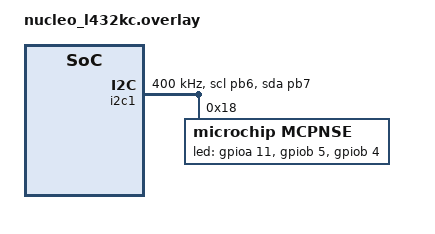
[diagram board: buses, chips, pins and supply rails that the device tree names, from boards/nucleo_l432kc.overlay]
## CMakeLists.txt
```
# SPDX-License-Identifier: Apache-2.0

cmake_minimum_required(VERSION 3.13.1)
find_package(Zephyr REQUIRED HINTS $ENV{ZEPHYR_BASE})
project(mcpnse)

FILE(GLOB app_sources src/*.c)
target_sources(app PRIVATE ${app_sources})
```

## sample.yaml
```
sample:
  name: MCPNSE Temperature Sensor
tests:
  sample.sensor.mcpnse:
    harness: sensor
    tags: sensors
    depends_on: i2c
    filter: dt_compat_enabled("microchip,mcpnse")
```

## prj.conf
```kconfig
CONFIG_STDOUT_CONSOLE=y
CONFIG_I2C=y
CONFIG_GPIO=y
CONFIG_SENSOR=y
CONFIG_MCPNSE=y
CONFIG_CBPRINTF_FP_SUPPORT=y
```

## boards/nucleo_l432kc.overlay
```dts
&i2c1 {
	clock-frequency = <I2C_BITRATE_FAST>;
    status = "okay";
    pinctrl-0 = <&i2c1_scl_pb6 &i2c1_sda_pb7>;

	mcpnse@18 {
		compatible = "microchip,mcpnse";
		reg = <0x18>;
		resolution = <3>;
		label = "MCPNSE";
		led-gpios = <&gpioa 11 GPIO_ACTIVE_HIGH>, <&gpiob 5 GPIO_ACTIVE_HIGH>, <&gpiob 4 GPIO_ACTIVE_HIGH>;
	};
};
```

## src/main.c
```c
/*
 * Copyright (c) 2019 Peter Bigot Consulting, LLC
 * Copyright (c) 2016 Intel Corporation.
 *
 * SPDX-License-Identifier: Apache-2.0
 */

#include <zephyr.h>
#include <device.h>
#include <drivers/sensor.h>
#include <stdio.h>

#define UCEL_PER_CEL 1000000
#define UCEL_PER_MCEL 1000
#define TEMP_INITIAL_CEL 25
#define TEMP_WINDOW_HALF_UCEL 500000

void main(void)
{
	const struct device *dev = DEVICE_DT_GET_ANY(microchip_mcpnse);
	int rc;
	static unsigned int count;

	if (dev == NULL) {
		printf("Device not found.\n");
		return;
	}
	if (!device_is_ready(dev)) {
		printf("Device %s is not ready.\n", dev->name);
		return;
	}

	while (1) {
		struct sensor_value temp;
		

		rc = sensor_sample_fetch(dev);
		if (rc != 0) {
			printf("sensor_sample_fetch error: %d\n", rc);
			break;
		}

		++count;

		rc = sensor_channel_get(dev, SENSOR_CHAN_AMBIENT_TEMP, &temp);
		if (rc != 0) {
			printf("sensor_channel_get error: %d\n", rc);
			break;
		}

		printf("\033[37;1m#\033[32m%5u \
\033[37;1m@\033[32m%7u\033[37;1mms: \
\033[36;1m%f\033[31;1m°C\033[0m\n",
		    	count, 
				k_uptime_get_32(),
		    	sensor_value_to_double(&temp));

		k_sleep(K_MSEC(150));
	}
}
```
